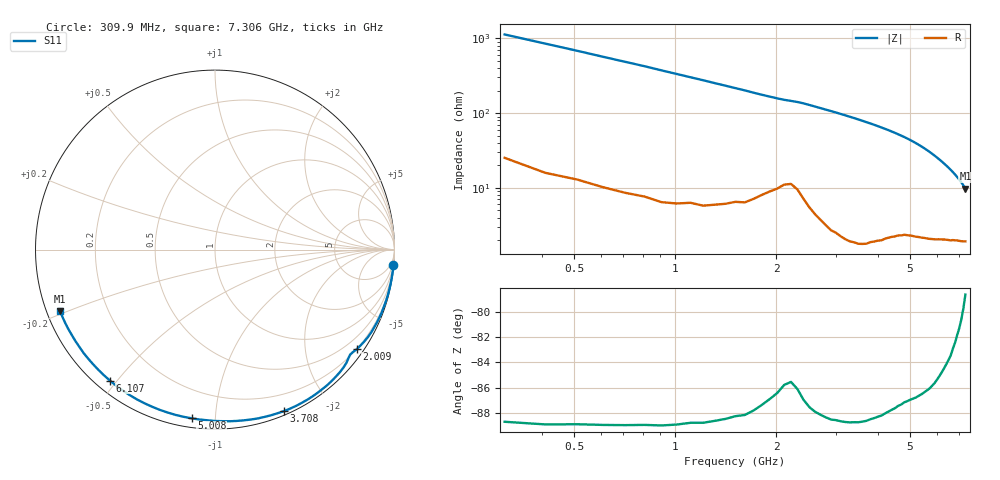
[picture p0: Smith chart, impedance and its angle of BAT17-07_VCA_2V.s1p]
! Infineon Technologies  Discrete & RF Semiconductors
! BAT17-07
! VCA = 2 V
! One-Port S-Parameters
# Hz  S  MA  R  50
!f  S11
!Hz  Mag  Ang
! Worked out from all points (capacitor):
!   71 points, 309.9 MHz to 7.306 GHz, reference 50 ohm
!   read as one part to ground: C = 457 fF near 309.9 MHz
!   lowest |Z| = 9.74 ohm at 7.306 GHz (marker M1)
!   S11 on the Smith chart (normalised r, x): 309.9 MHz: 1, -23; 2.009 GHz: 0.20, -3.14; 3.708 GHz: 0.04, -1.51; 5.008 GHz: 0.05, -0.87; 6.107 GHz: 0.04, -0.48; 7.306 GHz: 0.04, -0.19
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3.0985e8  0.998 -5.1
8.096e8  0.9958 -13.5
1.2094e9  0.9926 -20.6
1.6092e9  0.9852 -27.9
1.8091e9  0.9762 -31.7
2.009e9  0.9648 -35.2
2.10895e9  0.957 -36.7
2.30885e9  0.9582 -39.1
2.50875e9  0.9717 -42.6
2.8086e9  0.979 -48.5
3.0085e9  0.9807 -52.4
3.30835e9  0.9818 -58.5
3.70815e9  0.9784 -67.0
3.8081e9  0.9761 -69.1
4.2079e9  0.9674 -78.1
4.50775e9  0.9598 -85.2
4.70765e9  0.9547 -90.2
5.0075e9  0.9489 -97.9
5.30735e9  0.9454 -106.1
5.6072e9  0.942 -114.7
5.90705e9  0.9386 -123.1
6.10695e9  0.9355 -128.8
6.30685e9  0.9332 -134.2
6.50675e9  0.9319 -139.3
6.70665e9  0.93 -144.3
6.90655e9  0.929 -149.1
7.10645e9  0.9293 -153.7
7.30635e9  0.9285 -158.3
